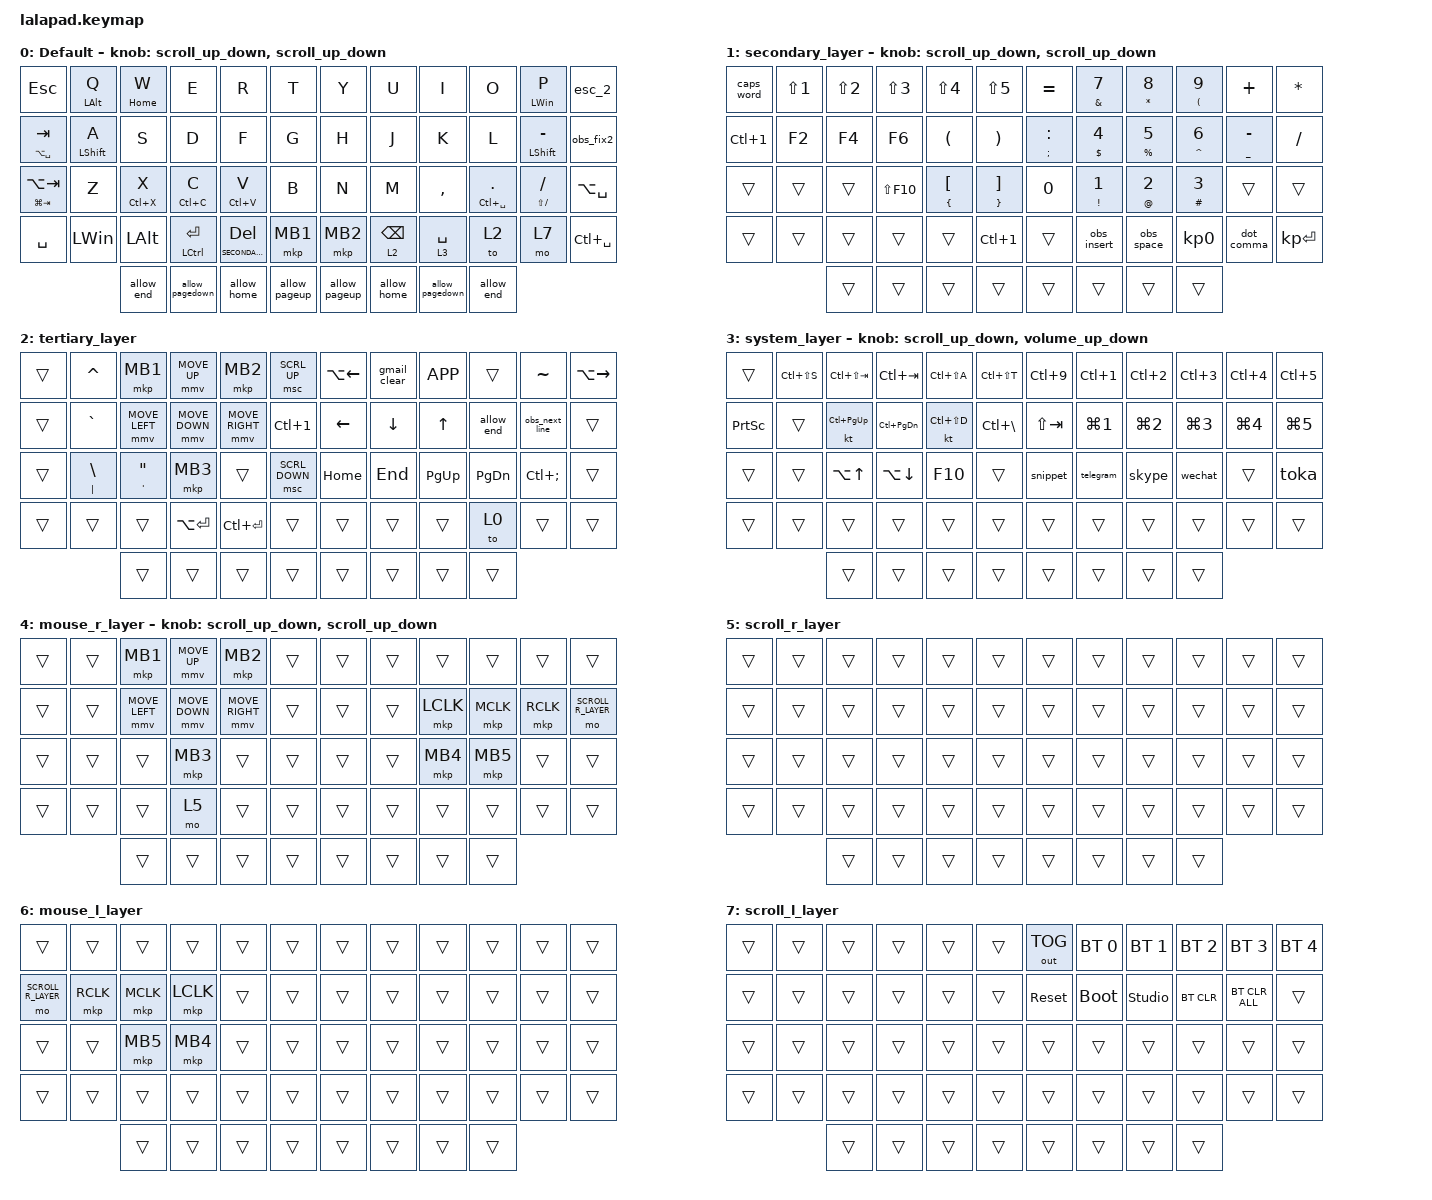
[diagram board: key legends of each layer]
#include <input/processors.dtsi>
#include <behaviors.dtsi>
#include <dt-bindings/zmk/bt.h>
#include <dt-bindings/zmk/keys.h>
#include <dt-bindings/zmk/outputs.h>
#include <dt-bindings/zmk/pointing.h>

#define DEFAULT_LAYER   0
#define SECONDARY_LAYER 1
#define TERTIARY_LAYER  2
#define SYSTEM_LAYER    3
#define MOUSE_R_LAYER   4
#define SCROLL_R_LAYER  5
#define MOUSE_L_LAYER   6
#define SCROLL_L_LAYER  7

// Mouse Scroll Value

#define ZMK_POINTING_DEFAULT_MOVE_VAL 3500 // default: 600
#define ZMK_POINTING_DEFAULT_SCRL_VAL 100  // default: 10 -> 100 -> 10 -> 5 -> 1 ->20->100

// cirque trackpad input&layer control

&glidepoint_listener_R {
    input-processors =
        <&zip_xy_transform (INPUT_TRANSFORM_XY_SWAP | INPUT_TRANSFORM_X_INVERT | INPUT_TRANSFORM_Y_INVERT)>,
        <&zip_xy_scaler 3 2>,
        <&zip_temp_layer MOUSE_R_LAYER 500>;

    lowspeedmode {
        layers = <SECONDARY_LAYER>;
        input-processors =
            <&zip_xy_transform (INPUT_TRANSFORM_XY_SWAP | INPUT_TRANSFORM_X_INVERT | INPUT_TRANSFORM_Y_INVERT)>,
            <&zip_xy_scaler 3 5>,
            <&zip_temp_layer MOUSE_R_LAYER 500>;
    };

    scroller {
        layers = <SCROLL_R_LAYER>;
        input-processors =
            <&zip_xy_to_scroll_mapper>,
            <&zip_scroll_transform (INPUT_TRANSFORM_XY_SWAP | INPUT_TRANSFORM_Y_INVERT)>,
            //       <&zip_scroll_scaler 1 8>;,,,,,,,,,,,,,,,,,,,,,,,,,,,,,,,,,,,,,,,,,,,,,,,,,,,,,,,,,,,,,,,,,,,,,,,,,,,,,,,,,,,,,,,,
            <&zip_scroll_scaler 1 64>;
    };
};

&glidepoint_listener_L {
    input-processors =
        <&zip_xy_transform (INPUT_TRANSFORM_XY_SWAP | INPUT_TRANSFORM_X_INVERT | INPUT_TRANSFORM_Y_INVERT)>,
        <&zip_xy_scaler 3 2>,
        <&zip_temp_layer MOUSE_L_LAYER 500>;

    lowspeedmode {
        layers = <SECONDARY_LAYER>;
        input-processors =
            <&zip_xy_transform (INPUT_TRANSFORM_XY_SWAP | INPUT_TRANSFORM_X_INVERT | INPUT_TRANSFORM_Y_INVERT)>,
            <&zip_xy_scaler 3 4>,
            <&zip_temp_layer MOUSE_L_LAYER 500>;
    };

    scroller {
        layers = <SCROLL_L_LAYER>;
        input-processors =
            <&zip_xy_to_scroll_mapper>,
            <&zip_scroll_transform (INPUT_TRANSFORM_XY_SWAP | INPUT_TRANSFORM_Y_INVERT)>,
            <&zip_scroll_scaler 1 6>;
    };
};

&lt { tapping-term-ms = <140>; };

&mt {
    tapping-term-ms = <140>;
    flavor = "tap-preferred";
};

/ {
    behaviors {
        // Encoder to Mouse Scroll

        scroll_up_down: behavior_sensor_rotate_mouse_wheel_up_down {
            compatible = "zmk,behavior-sensor-rotate";
            #sensor-binding-cells = <0>;
            bindings = <&msc SCRL_UP>, <&msc SCRL_DOWN>;

            tap-ms = <20>;
        };

        scroll_down_up: behavior_sensor_rotate_mouse_wheel_down_up {
            compatible = "zmk,behavior-sensor-rotate";
            #sensor-binding-cells = <0>;
            bindings = <&msc SCRL_DOWN>, <&msc SCRL_UP>;

            tap-ms = <20>;
        };

        scroll_left_right: behavior_sensor_rotate_mouse_wheel_left_right {
            compatible = "zmk,behavior-sensor-rotate";
            #sensor-binding-cells = <0>;
            bindings = <&msc SCRL_LEFT>, <&msc SCRL_RIGHT>;

            tap-ms = <20>;
        };

        scroll_right_left: behavior_sensor_rotate_mouse_wheel_right_left {
            compatible = "zmk,behavior-sensor-rotate";
            #sensor-binding-cells = <0>;
            bindings = <&msc SCRL_RIGHT>, <&msc SCRL_LEFT>;

            tap-ms = <20>;
        };

        volume_up_down: behavior_sensor_rotate_volume_up_down {
            compatible = "zmk,behavior-sensor-rotate";
            #sensor-binding-cells = <0>;
            bindings = <&kp C_VOLUME_UP>, <&kp C_VOLUME_DOWN>;

            tap-ms = <20>;
        };

        dot_comma: dot_comma {
            compatible = "zmk,behavior-mod-morph";
            #binding-cells = <0>;
            bindings = <&kp KP_DOT>, <&kp COMMA>;

            mods = <(MOD_LSFT|MOD_RSFT)>;
            label = "DOT_COMMA";
        };

        pls_minus: pls_minus {
            compatible = "zmk,behavior-mod-morph";
            #binding-cells = <0>;
            bindings = <&kp PLUS>, <&kp MINUS>;

            mods = <(MOD_LSFT|MOD_RSFT)>;
            label = "PLS_MINUS";
        };

        allow_pageup: allow_pageup {
            compatible = "zmk,behavior-mod-morph";
            #binding-cells = <0>;
            bindings = <&kp UP>, <&kp PAGE_UP>;

            mods = <(MOD_LCTL|MOD_RCTL)>;
            label = "ALLOW_PAGEUP";
        };

        allow_pagedown: allow_pagedown {
            compatible = "zmk,behavior-mod-morph";
            #binding-cells = <0>;
            bindings = <&kp DOWN>, <&kp PAGE_DOWN>;

            mods = <(MOD_LCTL|MOD_RCTL)>;
            label = "ALLOW_PAGEDOWN";
        };

        allow_home: allow_home {
            compatible = "zmk,behavior-mod-morph";
            #binding-cells = <0>;
            bindings = <&kp LEFT>, <&kp HOME>;

            mods = <(MOD_LCTL|MOD_RCTL)>;
            label = "ALLOW_HOME";
        };

        allow_end: allow_end {
            compatible = "zmk,behavior-mod-morph";
            #binding-cells = <0>;
            bindings = <&kp RIGHT>, <&kp END>;

            mods = <(MOD_LCTL|MOD_RCTL)>;
            label = "ALLOW_END";
        };

        mt2: mod_tap2 {
            compatible = "zmk,behavior-hold-tap";
            #binding-cells = <2>;
            flavor = "tap-preferred";
            tapping-term-ms = <160>;
            quick-tap-ms = <160>;
            require-prior-idle-ms = <140>;
            bindings = <&kp>, <&kp>;
        };

        my_caps_word: my_caps_word {
            compatible = "zmk,behavior-caps-word";
            label = "MY_CAPS_WORD";
            #binding-cells = <0>;
            mods = <(MOD_LSFT|MOD_RSFT)>;
            continue-list = <MINUS>;
        };
    };

    macros {
        esc_2: esc_2 {
            compatible = "zmk,behavior-macro";
            #binding-cells = <0>;
            bindings = <&kp ESC>, <&macro_wait_time 300>, <&kp ESC>;

            label = "ESC_2";
        };

        obs_next_line: obs_next_line {
            compatible = "zmk,behavior-macro";
            #binding-cells = <0>;
            bindings = <&kt ESC &kp I &kp ENTER &kp ESC &kp UP &kp END>;
            label = "OBS_NEXT_LINE";
        };

        obs_fix: obs_fix {
            compatible = "zmk,behavior-macro";
            #binding-cells = <0>;
            bindings = <&kp ENTER &kp ESC &kp ESC &kp DOWN &kp HOME>;
            label = "OBS_FIX";
        };

        toka: toka {
            compatible = "zmk,behavior-macro";
            #binding-cells = <0>;
            bindings = <&kp LS(T) &kp O &kp K &kp A &kp UNDER &kp N0 &kp N0 &kp N9 &kp N2 &kp N1 &kp RET>;
            label = "TOKA";
        };

        telegram: telegram {
            compatible = "zmk,behavior-macro";
            #binding-cells = <0>;
            bindings =
                <&kp LGUI>,
                <&macro_wait_time 400>,
                <&kp T &kp E &kp L &kp E &kp G &kp R &kp A &kp M &kp RET>;

            label = "TELEGRAM";
        };

        skype: skype {
            compatible = "zmk,behavior-macro";
            #binding-cells = <0>;
            bindings =
                <&kp LGUI>,
                <&macro_wait_time 200>,
                <&kp S &kp K &kp Y &kp P &kp E &kp RET>;

            label = "SKYPE";
        };

        wechat: wechat {
            compatible = "zmk,behavior-macro";
            #binding-cells = <0>;
            bindings =
                <&kp LGUI>,
                <&macro_wait_time 200>,
                <&kp W &kp E &kp C &kp H &kp A &kp T &kp RET>;

            label = "WECHAT";
        };

        snippet: snippet {
            compatible = "zmk,behavior-macro";
            #binding-cells = <0>;
            bindings =
                <&kp LGUI>,
                <&macro_wait_time 200>,
                <&kp S &kp N &kp I &kp P &kp P &kp E &kp T &kp RET>;

            label = "SNIPPET";
        };

        gmail_clear: gmail_clear {
            compatible = "zmk,behavior-macro";
            #binding-cells = <0>;
            bindings = <&kp ESC &kp ESC &kp G &kp I &kp G &kp I>;
            label = "GMAIL_CLEAR";
        };

        obs_insert: obs_insert {
            compatible = "zmk,behavior-macro";
            #binding-cells = <0>;
            bindings = <&kp ESC &kp ESC &kp A &kp LC(SPACE)>;
            label = "OBS_INSERT";
        };

        obs_space: obs_space {
            compatible = "zmk,behavior-macro";
            #binding-cells = <0>;
            bindings = <&kp ESC &kp I &kp SPACE &kp ESC>;
            label = "OBS_SPACE";
        };

        obs_fix2: obs_fix2 {
            compatible = "zmk,behavior-macro";
            #binding-cells = <0>;
            bindings = <&kp ENTER &kp ESC &kp ESC>;
            label = "OBS_FIX2";
        };
    };

    combos {
        compatible = "zmk,combos";

        kanji {
            bindings = <&kp LC(SPACE)>;
            key-positions = <39 44>;
        };

        ins_kanji {
            bindings = <&obs_insert>;
            key-positions = <40 43>;
        };

        my_ESC {
            bindings = <&kp ESC>;
            key-positions = <14 15>;
        };

        my_EXCx2 {
            bindings = <&esc_2>;
            key-positions = <20 21>;
        };

        my_Win+Tab {
            bindings = <&kp LG(TAB)>;
            key-positions = <2 3>;
        };

        my_C_SPC {
            bindings = <&kp LC(SPACE)>;
            key-positions = <32 33>;
        };

        my_obs_fix {
            bindings = <&obs_fix2>;
            key-positions = <19 20>;
        };

        my_A_Tab {
            bindings = <&kp LA(TAB)>;
            key-positions = <26 27>;
        };

        my_tab {
            bindings = <&kp TAB>;
            key-positions = <16 15>;
        };
    };

    keymap {
        compatible = "zmk,keymap";

        DEFAULT_LAYER {
            display-name = "Default";
            sensor-bindings = <&scroll_up_down>, <&scroll_up_down>;

            bindings = <
&kp ESC              &mt LEFT_ALT Q  &mt HOME W    &kp E             &kp R                    &kp T          &kp Y          &kp U        &kp I            &kp O                 &mt LEFT_WIN P       &esc_2
&mt LA(SPACE) TAB    &mt2 LSHIFT A   &kp S         &kp D             &kp F                    &kp G          &kp H          &kp J        &kp K            &kp L                 &mt LSHFT MINUS      &obs_fix2
&mt LG(TAB) LA(TAB)  &kp Z           &mt LC(X) X   &mt LC(C) C       &mt LC(V) V              &kp B          &kp N          &kp M        &kp COMMA        &mt LC(SPACE) PERIOD  &mt LS(SLASH) SLASH  &kp LA(SPACE)
&kp SPACE            &kp LEFT_WIN    &kp LEFT_ALT  &mt2 LCTRL ENTER  &lt SECONDARY_LAYER DEL  &mkp MB1       &mkp MB2       &lt 2 BSPC   &lt 3 SPACE      &to 2                 &mo 7                &kp LC(SPACE)
                                     &allow_end    &allow_pagedown   &allow_home              &allow_pageup  &allow_pageup  &allow_home  &allow_pagedown  &allow_end
            >;
        };

        SECONDARY_LAYER {
            display-name = "secondary_layer";
            sensor-bindings = <&scroll_up_down>, <&scroll_up_down>;

            bindings = <
&caps_word  &kp LS(NUMBER_1)  &kp LS(NUMBER_2)  &kp LS(NUMBER_3)  &kp LS(NUMBER_4)             &kp LS(NUMBER_5)               &kp EQUAL            &mt AMPS N7         &mt ASTERISK N8  &mt LEFT_PARENTHESIS N9  &kp PLUS              &kp ASTERISK
&kp LC(N1)  &kp F2            &kp F4            &kp F6            &kp LEFT_PARENTHESIS         &kp RIGHT_PARENTHESIS          &mt SEMICOLON COLON  &mt DOLLAR N4       &mt PERCENT N5   &mt CARET N6             &mt UNDERSCORE MINUS  &kp SLASH
&trans      &trans            &trans            &kp LS(F10)       &mt LEFT_BRACE LEFT_BRACKET  &mt RIGHT_BRACE RIGHT_BRACKET  &kp N0               &mt EXCLAMATION N1  &mt AT_SIGN N2   &mt HASH N3              &trans                &trans
&trans      &trans            &trans            &trans            &trans                       &kp LC(N1)                     &trans               &obs_insert         &obs_space       &kp KP_NUMBER_0          &dot_comma            &kp KP_ENTER
                              &trans            &trans            &trans                       &trans                         &trans               &trans              &trans           &trans
            >;
        };

        TERTIARY_LAYER {
            display-name = "tertiary_layer";
            bindings = <
&trans  &kp CARET      &mkp MB1                        &mmv MOVE_UP    &mkp MB2         &msc SCRL_UP    &kp LA(LEFT)  &gmail_clear  &kp K_APP  &trans         &kp TILDE          &kp LA(RIGHT)
&trans  &kp GRAVE      &mmv MOVE_LEFT                  &mmv MOVE_DOWN  &mmv MOVE_RIGHT  &kp LC(N1)      &kp LEFT      &kp DOWN      &kp UP     &allow_end     &obs_next_line     &trans
&trans  &mt PIPE BSLH  &mt SINGLE_QUOTE DOUBLE_QUOTES  &mkp MB3        &trans           &msc SCRL_DOWN  &kp HOME      &kp END       &kp PG_UP  &kp PAGE_DOWN  &kp LC(SEMICOLON)  &trans
&trans  &trans         &trans                          &kp LA(ENTER)   &kp LC(ENTER)    &trans          &trans        &trans        &trans     &to 0          &trans             &trans
                       &trans                          &trans          &trans           &trans          &trans        &trans        &trans     &trans
            >;
        };

        SYSTEM_LAYER {
            display-name = "system_layer";
            sensor-bindings = <&scroll_up_down>, <&volume_up_down>;

            bindings = <
&trans           &kp LC(LS(S))  &kp LC(LS(TAB))  &kp LC(TAB)        &kp LC(LS(A))  &kp LC(LS(T))      &kp LC(N9)   &kp LC(N1)  &kp LC(N2)  &kp LC(N3)  &kp LC(N4)  &kp LC(N5)
&kp PRINTSCREEN  &trans         &kt LC(PAGE_UP)  &kp LC(PAGE_DOWN)  &kt LC(LS(D))  &kp LC(BACKSLASH)  &kp LS(TAB)  &kp LG(N1)  &kp LG(N2)  &kp LG(N3)  &kp LG(N4)  &kp LG(N5)
&trans           &trans         &kp LA(UP)       &kp LA(DOWN)       &kp F10        &trans             &snippet     &telegram   &skype      &wechat     &trans      &toka
&trans           &trans         &trans           &trans             &trans         &trans             &trans       &trans      &trans      &trans      &trans      &trans
                                &trans           &trans             &trans         &trans             &trans       &trans      &trans      &trans
            >;
        };

        MOUSE_R_LAYER {
            display-name = "mouse_r_layer";
            bindings = <
&trans  &trans  &mkp MB1        &mmv MOVE_UP    &mkp MB2         &trans  &trans  &trans  &trans     &trans     &trans     &trans
&trans  &trans  &mmv MOVE_LEFT  &mmv MOVE_DOWN  &mmv MOVE_RIGHT  &trans  &trans  &trans  &mkp LCLK  &mkp MCLK  &mkp RCLK  &mo SCROLL_R_LAYER
&trans  &trans  &trans          &mkp MB3        &trans           &trans  &trans  &trans  &mkp MB4   &mkp MB5   &trans     &trans
&trans  &trans  &trans          &mo 5           &trans           &trans  &trans  &trans  &trans     &trans     &trans     &trans
                &trans          &trans          &trans           &trans  &trans  &trans  &trans     &trans
            >;

            sensor-bindings = <&scroll_up_down>, <&scroll_up_down>;
        };

        SCROLL_R_LAYER {
            display-name = "scroll_r_layer";
            bindings = <
&trans  &trans  &trans  &trans  &trans  &trans  &trans  &trans  &trans  &trans  &trans  &trans
&trans  &trans  &trans  &trans  &trans  &trans  &trans  &trans  &trans  &trans  &trans  &trans
&trans  &trans  &trans  &trans  &trans  &trans  &trans  &trans  &trans  &trans  &trans  &trans
&trans  &trans  &trans  &trans  &trans  &trans  &trans  &trans  &trans  &trans  &trans  &trans
                &trans  &trans  &trans  &trans  &trans  &trans  &trans  &trans
            >;
        };

        MOUSE_L_LAYER {
            display-name = "mouse_l_layer";
            bindings = <
&trans              &trans     &trans     &trans     &trans  &trans  &trans  &trans  &trans  &trans  &trans  &trans
&mo SCROLL_R_LAYER  &mkp RCLK  &mkp MCLK  &mkp LCLK  &trans  &trans  &trans  &trans  &trans  &trans  &trans  &trans
&trans              &trans     &mkp MB5   &mkp MB4   &trans  &trans  &trans  &trans  &trans  &trans  &trans  &trans
&trans              &trans     &trans     &trans     &trans  &trans  &trans  &trans  &trans  &trans  &trans  &trans
                               &trans     &trans     &trans  &trans  &trans  &trans  &trans  &trans
            >;
        };

        SCROLL_L_LAYER {
            display-name = "scroll_l_layer";
            bindings = <
&trans  &trans  &trans  &trans  &trans  &trans  &out OUT_TOG  &bt BT_SEL 0  &bt BT_SEL 1    &bt BT_SEL 2  &bt BT_SEL 3    &bt BT_SEL 4
&trans  &trans  &trans  &trans  &trans  &trans  &sys_reset    &bootloader   &studio_unlock  &bt BT_CLR    &bt BT_CLR_ALL  &trans
&trans  &trans  &trans  &trans  &trans  &trans  &trans        &trans        &trans          &trans        &trans          &trans
&trans  &trans  &trans  &trans  &trans  &trans  &trans        &trans        &trans          &trans        &trans          &trans
                &trans  &trans  &trans  &trans  &trans        &trans        &trans          &trans
            >;
        };
    };
};
